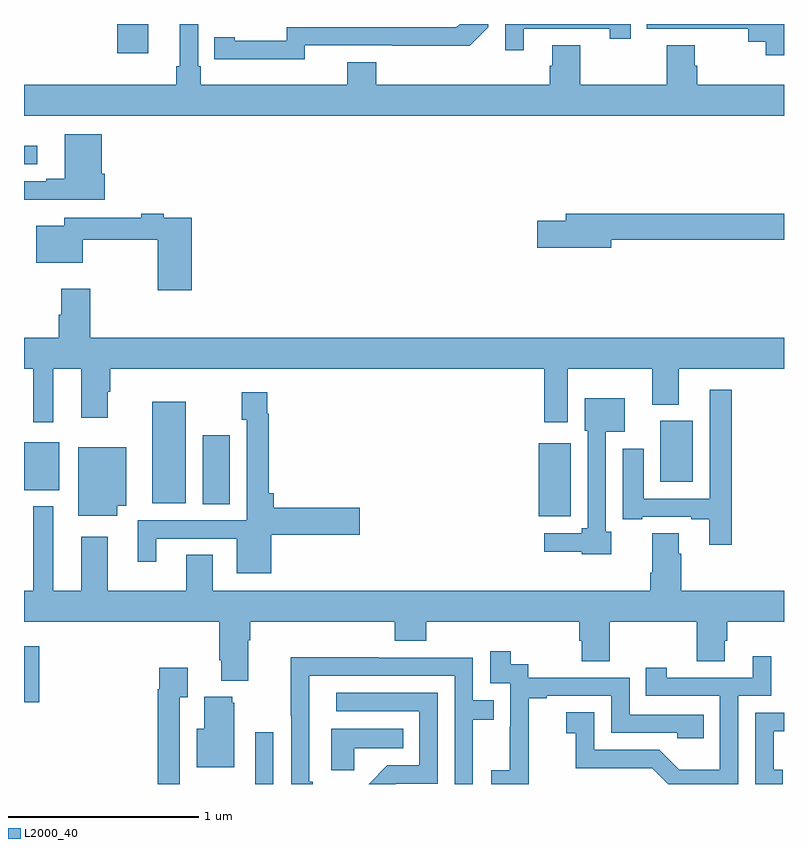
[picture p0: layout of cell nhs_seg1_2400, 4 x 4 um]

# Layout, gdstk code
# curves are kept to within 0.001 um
import gdstk
lib = gdstk.Library(unit=1e-6, precision=1e-09)
def R(c, l, rs):  # rectangles x0, y0, x1, y1
    for r in rs: c.add(gdstk.rectangle(r[:2], r[2:], *l))
def P(c, l, *ps):  # polygons
    for p in ps: c.add(gdstk.Polygon(p, *l))
L2000_40 = (2000, 40)

nhs_seg1_2400 = lib.new_cell('nhs_seg1_2400')
R(nhs_seg1_2400, L2000_40, [(242.217,564.199,242.313,564.472), (241,564.63,241.079,564.925), (243.71,565.607,243.877,565.993), (241.94,565.672,242.083,566.035), (241.676,565.676,241.852,566.212), (241,565.745,241.186,565.999), (244.349,565.79,244.519,566.11), (241,567.462,241.069,567.559), (241.49,568.044,241.654,568.199)])
P(nhs_seg1_2400, L2000_40, [(245,568.199),(244.278,568.199),(244.278,568.173),(244.812,568.173),(244.812,568.105),(244.905,568.105),(244.905,568.035),(245,568.035)],
  [(242.478,568.086),(243.346,568.085),(243.444,568.182),(243.444,568.199),(243.293,568.199),(243.276,568.182),(242.382,568.182),(242.382,568.11),(242.11,568.11),(242.11,568.13),(242.002,568.13),(242.002,568.014),(242.478,568.013)],
  [(245,567.88),(244.544,567.88),(244.544,567.978),(244.531,567.978),(244.531,568.088),(244.384,568.088),(244.384,567.88),(243.927,567.88),(243.927,568.088),(243.779,568.088),(243.779,567.978),(243.767,567.978),(243.767,567.88),(242.855,567.88),(242.855,567.997),(242.702,567.997),(242.702,567.88),(241.931,567.88),(241.931,567.976),(241.917,567.976),(241.917,568.199),(241.82,568.199),(241.82,567.976),(241.801,567.976),(241.801,567.88),(241,567.88),(241,567.716),(245,567.716)],
  [(243.631,568.173),(244.082,568.173),(244.082,568.122),(244.193,568.122),(244.193,568.199),(243.534,568.199),(243.534,568.062),(243.631,568.062)],
  [(241.426,567.411),(241.408,567.411),(241.408,567.619),(241.214,567.619),(241.214,567.385),(241.118,567.385),(241.118,567.372),(241,567.372),(241,567.275),(241.426,567.275)],
  [(241.883,567.18),(241.736,567.18),(241.736,567.2),(241.616,567.2),(241.616,567.18),(241.212,567.18),(241.212,567.136),(241.064,567.136),(241.064,566.942),(241.308,566.942),(241.308,567.064),(241.705,567.064),(241.705,566.799),(241.883,566.799)],
  [(244.09,567.064),(245,567.064),(245,567.2),(243.851,567.2),(243.851,567.164),(243.702,567.164),(243.702,567.022),(244.09,567.022)],
  [(241.153,566.384),(241.301,566.384),(241.301,566.127),(241.441,566.127),(241.441,566.264),(241.454,566.264),(241.454,566.384),(243.737,566.384),(243.737,566.103),(243.862,566.103),(243.862,566.384),(244.307,566.384),(244.307,566.195),(244.447,566.195),(244.447,566.384),(245,566.384),(245,566.548),(241.349,566.548),(241.349,566.806),(241.196,566.806),(241.196,566.669),(241.184,566.669),(241.184,566.548),(241,566.548),(241,566.384),(241.049,566.384),(241.049,566.103),(241.153,566.103)],
  [(244.724,566.275),(244.608,566.275),(244.608,565.701),(244.261,565.701),(244.261,565.963),(244.151,565.963),(244.151,565.593),(244.255,565.593),(244.255,565.605),(244.511,565.605),(244.511,565.593),(244.607,565.593),(244.607,565.458),(244.724,565.458)],
  [(242.302,565.51),(242.767,565.51),(242.767,565.652),(242.315,565.652),(242.315,565.729),(242.288,565.729),(242.288,566.147),(242.281,566.147),(242.281,566.26),(242.146,566.26),(242.146,566.115),(242.172,566.115),(242.172,565.587),(241.598,565.587),(241.598,565.368),(241.696,565.368),(241.696,565.491),(242.12,565.491),(242.12,565.307),(242.302,565.307)],
  [(244.09,565.527),(244.062,565.527),(244.062,566.054),(244.162,566.054),(244.162,566.23),(243.95,566.23),(243.95,566.058),(243.966,566.058),(243.966,565.546),(243.936,565.546),(243.936,565.518),(243.738,565.518),(243.738,565.421),(243.936,565.421),(243.936,565.409),(244.09,565.409)],
  [(241.492,565.664),(241.537,565.664),(241.537,565.972),(241.286,565.972),(241.286,565.61),(241.492,565.61)],
  [(242.179,564.956),(242.192,564.956),(242.192,565.052),(242.951,565.052),(242.951,564.953),(243.116,564.953),(243.116,565.052),(243.923,565.052),(243.923,564.954),(243.935,564.954),(243.935,564.844),(244.083,564.844),(244.083,565.052),(244.54,565.052),(244.54,564.844),(244.687,564.844),(244.687,564.954),(244.7,564.954),(244.7,565.052),(245,565.052),(245,565.216),(244.46,565.216),(244.46,565.412),(244.447,565.412),(244.447,565.52),(244.307,565.52),(244.307,565.312),(244.295,565.312),(244.295,565.216),(241.993,565.216),(241.993,565.406),(241.853,565.406),(241.853,565.216),(241.441,565.216),(241.441,565.501),(241.301,565.501),(241.301,565.216),(241.153,565.216),(241.153,565.66),(241.049,565.66),(241.049,565.216),(241,565.216),(241,565.052),(242.027,565.052),(242.027,564.85),(242.039,564.85),(242.039,564.743),(242.179,564.743)],
  [(243.657,564.367),(243.656,564.367),(243.656,564.651),(243.751,564.651),(243.751,564.663),(244.092,564.663),(244.092,564.468),(244.437,564.468),(244.437,564.441),(244.577,564.441),(244.577,564.564),(244.188,564.564),(244.188,564.759),(243.654,564.759),(243.654,564.828),(243.562,564.828),(243.562,564.898),(243.453,564.898),(243.453,564.729),(243.558,564.729),(243.558,564.5),(243.557,564.5),(243.557,564.271),(243.459,564.271),(243.459,564.199),(243.657,564.199)],
  [(244.758,564.663),(244.932,564.663),(244.932,564.871),(244.835,564.871),(244.835,564.759),(244.384,564.759),(244.384,564.811),(244.273,564.811),(244.273,564.663),(244.662,564.663),(244.662,564.274),(244.448,564.274),(244.344,564.378),(244.002,564.378),(244.002,564.577),(243.855,564.577),(243.855,564.467),(243.904,564.467),(243.904,564.282),(244.307,564.282),(244.39,564.199),(244.758,564.199)],
  [(242.521,564.21),(242.502,564.21),(242.502,564.768),(243.267,564.768),(243.267,564.199),(243.363,564.199),(243.363,564.538),(243.473,564.538),(243.473,564.639),(243.363,564.639),(243.363,564.864),(242.867,564.864),(242.867,564.866),(242.404,564.866),(242.404,564.559),(242.406,564.559),(242.406,564.199),(242.521,564.199)],
  [(241.821,564.655),(241.861,564.655),(241.861,564.811),(241.713,564.811),(241.713,564.698),(241.705,564.698),(241.705,564.199),(241.821,564.199)],
  [(242.958,564.201),(243.177,564.201),(243.177,564.678),(242.643,564.678),(242.643,564.582),(243.081,564.582),(243.081,564.297),(242.912,564.297),(242.814,564.199),(242.956,564.199)],
  [(242.107,564.627),(242.096,564.627),(242.096,564.658),(241.949,564.658),(241.949,564.49),(241.91,564.49),(241.91,564.287),(242.107,564.287)],
  [(244.994,564.273),(244.945,564.273),(244.945,564.477),(245,564.477),(245,564.573),(244.848,564.573),(244.848,564.199),(244.994,564.199)],
  [(242.739,564.386),(242.996,564.386),(242.996,564.49),(242.618,564.49),(242.618,564.271),(242.739,564.271)])

lib.write_gds('nhs_seg1_2400.gds')
